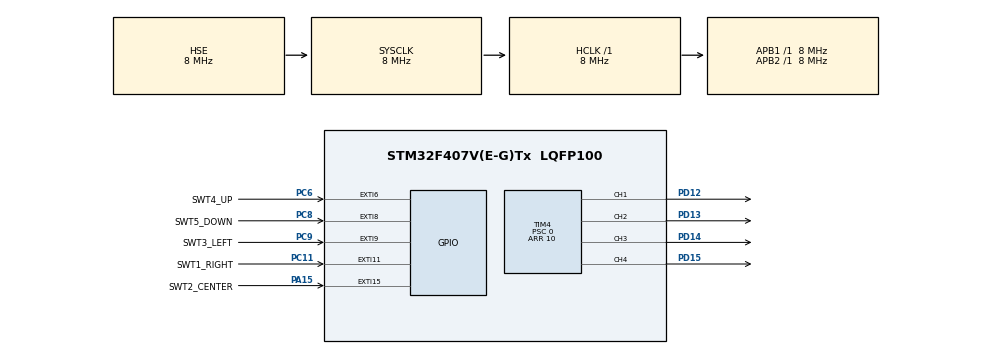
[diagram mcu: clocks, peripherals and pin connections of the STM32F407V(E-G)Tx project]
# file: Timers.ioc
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Mcu.Family=STM32F4
Mcu.Name=STM32F407V(E-G)Tx
Mcu.Package=LQFP100
NVIC.EXTI15_10_IRQn=true\:0\:0\:false\:false\:true\:true\:true
NVIC.EXTI9_5_IRQn=true\:0\:0\:false\:false\:true\:true\:true
NVIC.PriorityGroup=NVIC_PRIORITYGROUP_4
PA15.GPIO_Label=SWT2_CENTER
PA15.GPIO_ModeDefaultEXTI=GPIO_MODE_IT_FALLING
PA15.Signal=GPXTI15
PC11.GPIO_Label=SWT1_RIGHT
PC11.GPIO_ModeDefaultEXTI=GPIO_MODE_IT_FALLING
PC11.Signal=GPXTI11
PC6.GPIO_Label=SWT4_UP
PC6.Signal=GPXTI6
PC8.GPIO_Label=SWT5_DOWN
PC8.Signal=GPXTI8
PC9.GPIO_Label=SWT3_LEFT
PC9.GPIO_ModeDefaultEXTI=GPIO_MODE_IT_FALLING
PC9.Signal=GPXTI9
PD12.Signal=S_TIM4_CH1
PD13.Signal=S_TIM4_CH2
PD14.Signal=S_TIM4_CH3
PD15.Signal=S_TIM4_CH4
PH0-OSC_IN.Mode=HSE-External-Oscillator
PH0-OSC_IN.Signal=RCC_OSC_IN
PH1-OSC_OUT.Mode=HSE-External-Oscillator
PH1-OSC_OUT.Signal=RCC_OSC_OUT
ProjectManager.HeapSize=0x200
ProjectManager.StackSize=0x400
ProjectManager.TargetToolchain=STM32CubeIDE
RCC.48MHZClocksFreq_Value=24000000
RCC.AHBFreq_Value=8000000
RCC.APB1Freq_Value=8000000
RCC.APB1TimFreq_Value=8000000
RCC.APB2Freq_Value=8000000
RCC.APB2TimFreq_Value=8000000
RCC.CortexFreq_Value=8000000
RCC.HCLKFreq_Value=8000000
RCC.HSE_VALUE=8000000
RCC.HSI_VALUE=16000000
RCC.LSE_VALUE=32768
RCC.PLLSourceVirtual=RCC_PLLSOURCE_HSE
RCC.SYSCLKFreq_VALUE=8000000
RCC.SYSCLKSource=RCC_SYSCLKSOURCE_HSE
RCC.VCOOutputFreq_Value=96000000
SH.S_TIM4_CH1.0=TIM4_CH1,PWM Generation1 CH1
SH.S_TIM4_CH2.0=TIM4_CH2,PWM Generation2 CH2
SH.S_TIM4_CH3.0=TIM4_CH3,PWM Generation3 CH3
SH.S_TIM4_CH4.0=TIM4_CH4,PWM Generation4 CH4
TIM4.AutoReloadPreload=TIM_AUTORELOAD_PRELOAD_ENABLE
TIM4.Channel-PWM\ Generation1\ CH1=TIM_CHANNEL_1
TIM4.Channel-PWM\ Generation2\ CH2=TIM_CHANNEL_2
TIM4.Channel-PWM\ Generation3\ CH3=TIM_CHANNEL_3
TIM4.Channel-PWM\ Generation4\ CH4=TIM_CHANNEL_4
TIM4.Period=10
TIM4.Prescaler=0
VP_TIM4_VS_ClockSourceINT.Mode=Internal
board=custom

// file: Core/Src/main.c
/* USER CODE BEGIN Header */
/**
  ******************************************************************************
  * @file           : main.c
  * @brief          : Main program body
  ******************************************************************************
  * @attention
  *
  * <h2><center>&copy; Copyright (c) 2021 STMicroelectronics.
  * All rights reserved.</center></h2>
  *
  * This software component is licensed by ST under BSD 3-Clause license,
  * the "License"; You may not use this file except in compliance with the
  * License. You may obtain a copy of the License at:
  *                        opensource.org/licenses/BSD-3-Clause
  *
  ******************************************************************************
  */
/* USER CODE END Header */
#include "main.h"

/* USER CODE BEGIN PD */
#define TIM_CHANNEL_COUNT 4
#define PWM_DUTY_CYCLE_STEP 5
#define PWM_DUTY_CYCLE_MIN 0
#define PWM_DUTY_CYCLE_MAX 100
#define PWM_START_DUTY_CYCLE 50
#define PWM_FREQUENCY_STEP 5000
#define PWM_FREQUENCY_MIN PWM_FREQUENCY_STEP
#define PWM_FREQUENCY_MAX (10*PWM_FREQUENCY_STEP)
#define PWM_FREQUENCY_START PWM_FREQUENCY_MIN
/* USER CODE END PD */

/* USER CODE BEGIN PM */
#define DIV_ROUND_UINT(n,d) ((((n) + (d)/2)/(d)))
/* USER CODE END PM */

TIM_HandleTypeDef htim4;

/* USER CODE BEGIN PV */
uint8_t timChannel = 0; // 0..TIM_CHANNEL_COUNT
uint8_t timPWM = PWM_START_DUTY_CYCLE;	// %
int32_t timFrequency = PWM_FREQUENCY_START; // In Hz
int32_t tim4BaseFrequency = -1;

/* USER CODE END PV */

void SystemClock_Config(void);
static void MX_GPIO_Init(void);
static void MX_TIM4_Init(void);
/* USER CODE BEGIN PFP */
void updatePWM(void);
void setup(void);
/* USER CODE END PFP */

/* USER CODE BEGIN 0 */
/**
 * @brief  EXTI line detection callbacks.
 * @param  GPIO_Pin Specifies the pins connected EXTI line
 * @retval None
 */
void HAL_GPIO_EXTI_Callback(uint16_t GPIO_Pin) {
	switch (GPIO_Pin) {
	case SWT4_UP_Pin: {
		// increment frequency
		int32_t newValue = timFrequency + PWM_FREQUENCY_STEP;
		timFrequency = (newValue > PWM_FREQUENCY_MAX) ? PWM_FREQUENCY_MAX : (uint32_t)newValue;
		break;
	}
	case SWT5_DOWN_Pin: {
		// decrement frequency
		int32_t newValue = timFrequency - PWM_FREQUENCY_STEP;
		timFrequency = (newValue < PWM_FREQUENCY_MIN) ? PWM_FREQUENCY_MIN : (uint32_t)newValue;
		break;
	}
	case SWT1_RIGHT_Pin: {
		// increment duty
		int8_t newValue = timPWM + PWM_DUTY_CYCLE_STEP;
		timPWM = (newValue > PWM_DUTY_CYCLE_MAX) ? PWM_DUTY_CYCLE_MAX : (uint8_t)newValue;
		break;
	}
	case SWT3_LEFT_Pin: {
		// decrement duty
		int8_t newValue = timPWM - PWM_DUTY_CYCLE_STEP;
		timPWM = (newValue < PWM_DUTY_CYCLE_MIN) ? PWM_DUTY_CYCLE_MIN : (uint8_t)newValue;
		break;
	}
	case SWT2_CENTER_Pin:
		// change tim4 channel
		timChannel = (timChannel + 1) % (TIM_CHANNEL_COUNT + 1);
		break;
	};
	updatePWM();
}

/**
 * Update PWM by timChannel, duty and frequency
 */
void updatePWM(void) {
	uint16_t pwmPeriod = (uint16_t)DIV_ROUND_UINT(tim4BaseFrequency, timFrequency);
	uint16_t pwmValue = (uint16_t)DIV_ROUND_UINT(pwmPeriod * timPWM, 100);
	htim4.Instance->ARR = pwmPeriod - 1;
	switch(timChannel) {
	case 0:
		htim4.Instance->CCR1 = pwmValue;
		htim4.Instance->CCR2 = 0;
		htim4.Instance->CCR3 = 0;
		htim4.Instance->CCR4 = 0;
		break;
	case 1:
		htim4.Instance->CCR1 = 0;
		htim4.Instance->CCR2 = pwmValue;
		htim4.Instance->CCR3 = 0;
		htim4.Instance->CCR4 = 0;
		break;
	case 2:
		htim4.Instance->CCR1 = 0;
		htim4.Instance->CCR2 = 0;
		htim4.Instance->CCR3 = pwmValue;
		htim4.Instance->CCR4 = 0;
		break;
	case 3:
		htim4.Instance->CCR1 = 0;
		htim4.Instance->CCR2 = 0;
		htim4.Instance->CCR3 = 0;
		htim4.Instance->CCR4 = pwmValue;
		break;
	default:
		htim4.Instance->CCR1 = 0;
		htim4.Instance->CCR2 = 0;
		htim4.Instance->CCR3 = 0;
		htim4.Instance->CCR4 = 0;
		break;
	}
}

void setup(void) {
	tim4BaseFrequency = (int32_t)HAL_RCC_GetPCLK1Freq();
	HAL_TIM_PWM_Start(&htim4, TIM_CHANNEL_1);
	HAL_TIM_PWM_Start(&htim4, TIM_CHANNEL_2);
	HAL_TIM_PWM_Start(&htim4, TIM_CHANNEL_3);
	HAL_TIM_PWM_Start(&htim4, TIM_CHANNEL_4);
	updatePWM();
}

/* USER CODE END 0 */

int main(void)
{

  /* MCU Configuration--------------------------------------------------------*/

  /* Reset of all peripherals, Initializes the Flash interface and the Systick. */
  HAL_Init();

  /* Configure the system clock */
  SystemClock_Config();

  /* Initialize all configured peripherals */
  MX_GPIO_Init();
  MX_TIM4_Init();
  /* USER CODE BEGIN 2 */

  HAL_TIM_Base_Start_IT(&htim4);
  setup();
  /* USER CODE END 2 */

  /* Infinite loop */
  while (1)
  {

  }
}

void SystemClock_Config(void)
{
  RCC_OscInitTypeDef RCC_OscInitStruct = {0};
  RCC_ClkInitTypeDef RCC_ClkInitStruct = {0};

  /** Configure the main internal regulator output voltage
  */
  __HAL_RCC_PWR_CLK_ENABLE();
  __HAL_PWR_VOLTAGESCALING_CONFIG(PWR_REGULATOR_VOLTAGE_SCALE1);
  /** Initializes the RCC Oscillators according to the specified parameters
  * in the RCC_OscInitTypeDef structure.
  */
  RCC_OscInitStruct.OscillatorType = RCC_OSCILLATORTYPE_HSE;
  RCC_OscInitStruct.HSEState = RCC_HSE_ON;
  RCC_OscInitStruct.PLL.PLLState = RCC_PLL_NONE;
  if (HAL_RCC_OscConfig(&RCC_OscInitStruct) != HAL_OK)
  {
    Error_Handler();
  }
  /** Initializes the CPU, AHB and APB buses clocks
  */
  RCC_ClkInitStruct.ClockType = RCC_CLOCKTYPE_HCLK|RCC_CLOCKTYPE_SYSCLK
                              |RCC_CLOCKTYPE_PCLK1|RCC_CLOCKTYPE_PCLK2;
  RCC_ClkInitStruct.SYSCLKSource = RCC_SYSCLKSOURCE_HSE;
  RCC_ClkInitStruct.AHBCLKDivider = RCC_SYSCLK_DIV1;
  RCC_ClkInitStruct.APB1CLKDivider = RCC_HCLK_DIV1;
  RCC_ClkInitStruct.APB2CLKDivider = RCC_HCLK_DIV1;

  if (HAL_RCC_ClockConfig(&RCC_ClkInitStruct, FLASH_LATENCY_0) != HAL_OK)
  {
    Error_Handler();
  }
}

static void MX_TIM4_Init(void)
{

  TIM_ClockConfigTypeDef sClockSourceConfig = {0};
  TIM_MasterConfigTypeDef sMasterConfig = {0};
  TIM_OC_InitTypeDef sConfigOC = {0};

  htim4.Instance = TIM4;
  htim4.Init.Prescaler = 0;
  htim4.Init.CounterMode = TIM_COUNTERMODE_UP;
  htim4.Init.Period = 10;
  htim4.Init.ClockDivision = TIM_CLOCKDIVISION_DIV1;
  htim4.Init.AutoReloadPreload = TIM_AUTORELOAD_PRELOAD_ENABLE;
  if (HAL_TIM_Base_Init(&htim4) != HAL_OK)
  {
    Error_Handler();
  }
  sClockSourceConfig.ClockSource = TIM_CLOCKSOURCE_INTERNAL;
  if (HAL_TIM_ConfigClockSource(&htim4, &sClockSourceConfig) != HAL_OK)
  {
    Error_Handler();
  }
  if (HAL_TIM_PWM_Init(&htim4) != HAL_OK)
  {
    Error_Handler();
  }
  sMasterConfig.MasterOutputTrigger = TIM_TRGO_RESET;
  sMasterConfig.MasterSlaveMode = TIM_MASTERSLAVEMODE_DISABLE;
  if (HAL_TIMEx_MasterConfigSynchronization(&htim4, &sMasterConfig) != HAL_OK)
  {
    Error_Handler();
  }
  sConfigOC.OCMode = TIM_OCMODE_PWM1;
  sConfigOC.Pulse = 0;
  sConfigOC.OCPolarity = TIM_OCPOLARITY_HIGH;
  sConfigOC.OCFastMode = TIM_OCFAST_DISABLE;
  if (HAL_TIM_PWM_ConfigChannel(&htim4, &sConfigOC, TIM_CHANNEL_1) != HAL_OK)
  {
    Error_Handler();
  }
  if (HAL_TIM_PWM_ConfigChannel(&htim4, &sConfigOC, TIM_CHANNEL_2) != HAL_OK)
  {
    Error_Handler();
  }
  if (HAL_TIM_PWM_ConfigChannel(&htim4, &sConfigOC, TIM_CHANNEL_3) != HAL_OK)
  {
    Error_Handler();
  }
  if (HAL_TIM_PWM_ConfigChannel(&htim4, &sConfigOC, TIM_CHANNEL_4) != HAL_OK)
  {
    Error_Handler();
  }
  HAL_TIM_MspPostInit(&htim4);

}

static void MX_GPIO_Init(void)
{
  GPIO_InitTypeDef GPIO_InitStruct = {0};

  /* GPIO Ports Clock Enable */
  __HAL_RCC_GPIOH_CLK_ENABLE();
  __HAL_RCC_GPIOD_CLK_ENABLE();
  __HAL_RCC_GPIOC_CLK_ENABLE();
  __HAL_RCC_GPIOA_CLK_ENABLE();

  /*Configure GPIO pins : SWT4_UP_Pin SWT5_DOWN_Pin */
  GPIO_InitStruct.Pin = SWT4_UP_Pin|SWT5_DOWN_Pin;
  GPIO_InitStruct.Mode = GPIO_MODE_IT_RISING;
  GPIO_InitStruct.Pull = GPIO_NOPULL;
  HAL_GPIO_Init(GPIOC, &GPIO_InitStruct);

  /*Configure GPIO pins : SWT3_LEFT_Pin SWT1_RIGHT_Pin */
  GPIO_InitStruct.Pin = SWT3_LEFT_Pin|SWT1_RIGHT_Pin;
  GPIO_InitStruct.Mode = GPIO_MODE_IT_FALLING;
  GPIO_InitStruct.Pull = GPIO_NOPULL;
  HAL_GPIO_Init(GPIOC, &GPIO_InitStruct);

  /*Configure GPIO pin : SWT2_CENTER_Pin */
  GPIO_InitStruct.Pin = SWT2_CENTER_Pin;
  GPIO_InitStruct.Mode = GPIO_MODE_IT_FALLING;
  GPIO_InitStruct.Pull = GPIO_NOPULL;
  HAL_GPIO_Init(SWT2_CENTER_GPIO_Port, &GPIO_InitStruct);

  /* EXTI interrupt init*/
  HAL_NVIC_SetPriority(EXTI9_5_IRQn, 0, 0);
  HAL_NVIC_EnableIRQ(EXTI9_5_IRQn);

  HAL_NVIC_SetPriority(EXTI15_10_IRQn, 0, 0);
  HAL_NVIC_EnableIRQ(EXTI15_10_IRQn);

}

void Error_Handler(void)
{
  __disable_irq();
  while (1)
  {
  }
}

/************************ (C) COPYRIGHT STMicroelectronics *****END OF FILE****/
